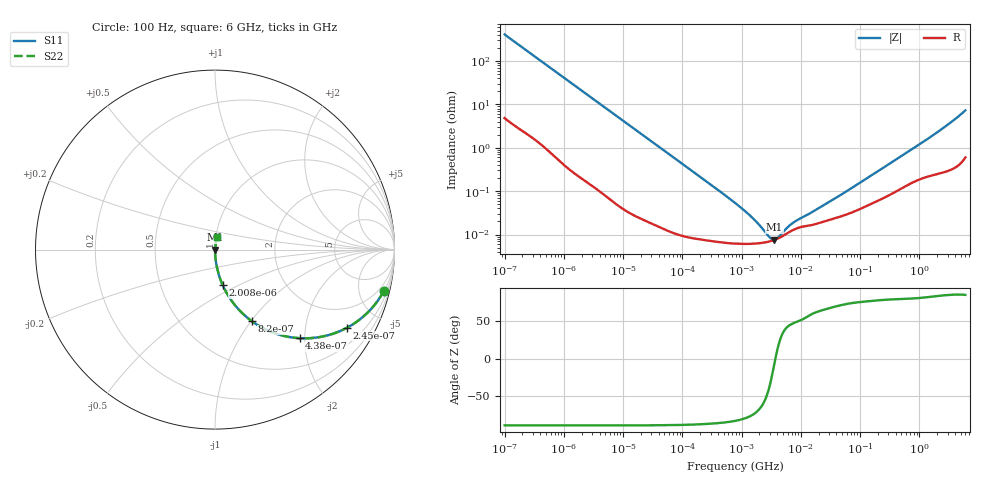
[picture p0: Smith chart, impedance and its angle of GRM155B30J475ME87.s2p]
!Murata Part Number: GRM155B30J475ME87
!These Parameters are Measured in Series Mode Connection
!Data Generated on Mar 30, 2021
!  o--ll--o
!Port1  Port2
!  o------o
!Operation Temp=25[degC], DC Bias Voltage=0[V]
!Freq. Start=100[Hz] Stop=6[GHz] 401[Steps]
# Hz S RI R 50
!Freq.(Hz) S11(Real) S11(Imag) S21(Real) S21(Imag) S12(Real) S12(Imag) S22(Real) S22(Imag)
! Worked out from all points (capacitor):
!   401 points, 100 Hz to 6 GHz, reference 50 ohm
!   read as one part in series: C = 3.88 uF near 109 Hz
!   lowest |Z| = 7.55 mohm at 3.55 MHz (marker M1)
!   series resonance near 3.723 MHz, so ESL is about 470 pH
!   S11 on the Smith chart (normalised r, x): 100 Hz: 1.10, -8.18; 245 Hz: 1.04, -3.36; 438 Hz: 1.02, -1.89; 820 Hz: 1.01, -1.01; 2.008 kHz: 1.00, -0.42; 6 GHz: 1.01, +0.15
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100  0.9412 -0.2295  0.0588 0.2295  0.0588 0.2295  0.9412 -0.2295
164  0.8598 -0.3414  0.1402 0.3414  0.1402 0.3414  0.8598 -0.3414
245  0.7359 -0.4349  0.2641 0.4349  0.2641 0.4349  0.7359 -0.4349
335  0.6015 -0.4836  0.3985 0.4836  0.3985 0.4836  0.6015 -0.4836
438  0.4714 -0.4933  0.5286 0.4933  0.5286 0.4933  0.4714 -0.4933
820  0.2066 -0.3998  0.7934 0.3998  0.7934 0.3998  0.2066 -0.3998
1227  0.1054 -0.3025  0.8946 0.3025  0.8946 0.3025  0.1054 -0.3025
2008  0.0431 -0.1984  0.9569 0.1984  0.9569 0.1984  0.0431 -0.1984
3437  0.0157 -0.1197  0.9843 0.1197  0.9843 0.1197  0.0157 -0.1197
6433  0.00484 -0.065  0.9952 0.065  0.9952 0.065  0.00484 -0.065
40335  0.00026 -0.0105  0.9997 0.0105  0.9997 0.0105  0.00026 -0.0105
774597  6.2e-05 -0.000533  0.9999 0.000533  0.9999 0.000533  6.2e-05 -0.000533
1516199  6.13e-05 -0.000237  0.9999 0.000237  0.9999 0.000237  6.13e-05 -0.000237
2594782  6.65e-05 -8.47e-05  0.9999 8.47e-05  0.9999 8.47e-05  6.65e-05 -8.47e-05
2967816  6.93e-05 -5.22e-05  0.9999 5.22e-05  0.9999 5.22e-05  6.93e-05 -5.22e-05
3549919  7.47e-05 -1.08e-05  0.9999 1.08e-05  0.9999 1.08e-05  7.47e-05 -1.08e-05
4643984  8.8e-05 4.86e-05  0.9999 -4.86e-05  0.9999 -4.86e-05  8.8e-05 4.86e-05
7599586  0.000129 0.000141  0.9999 -0.000141  0.9999 -0.000141  0.000129 0.000141
1.555665e7  0.000166 0.000285  0.9998 -0.000285  0.9998 -0.000285  0.000166 0.000285
3.124326e8  0.000826 0.00418  0.9992 -0.00418  0.9992 -0.00418  0.000826 0.00418
1.791126e9  0.00278 0.0201  0.9972 -0.0201  0.9972 -0.0201  0.00278 0.0201
6e9  0.0111 0.0714  0.9889 -0.0714  0.9889 -0.0714  0.0111 0.0714
